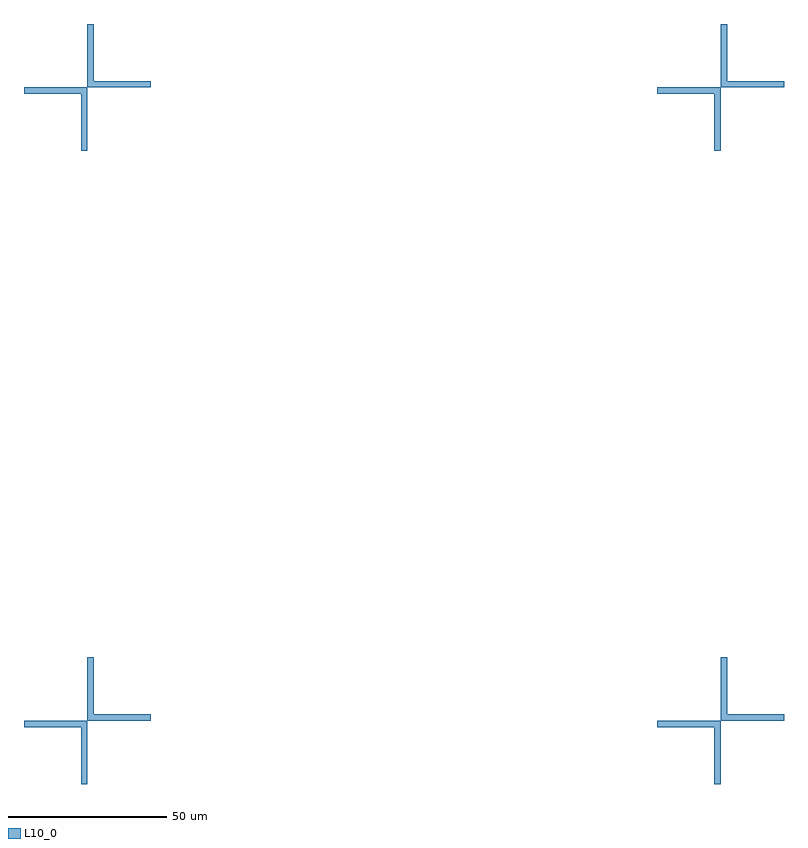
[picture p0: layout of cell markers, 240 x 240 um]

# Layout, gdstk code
import gdstk
lib = gdstk.Library(unit=1e-6, precision=1e-09)
def R(c, l, rs):  # rectangles x0, y0, x1, y1
    for r in rs: c.add(gdstk.rectangle(r[:2], r[2:], *l))
L10_0 = (10, 0)

mark = lib.new_cell('mark')
R(mark, L10_0, [(-2,-20,0,0), (-20,-2,0,0), (0,0,20,2), (0,0,2,20)])

markers = lib.new_cell('markers')
markers.add(gdstk.Reference(mark, (100,100)))
markers.add(gdstk.Reference(mark, (-100,-100)))
markers.add(gdstk.Reference(mark, (100,-100)))
markers.add(gdstk.Reference(mark, (-100,100)))

lib.write_gds('markers.gds')
